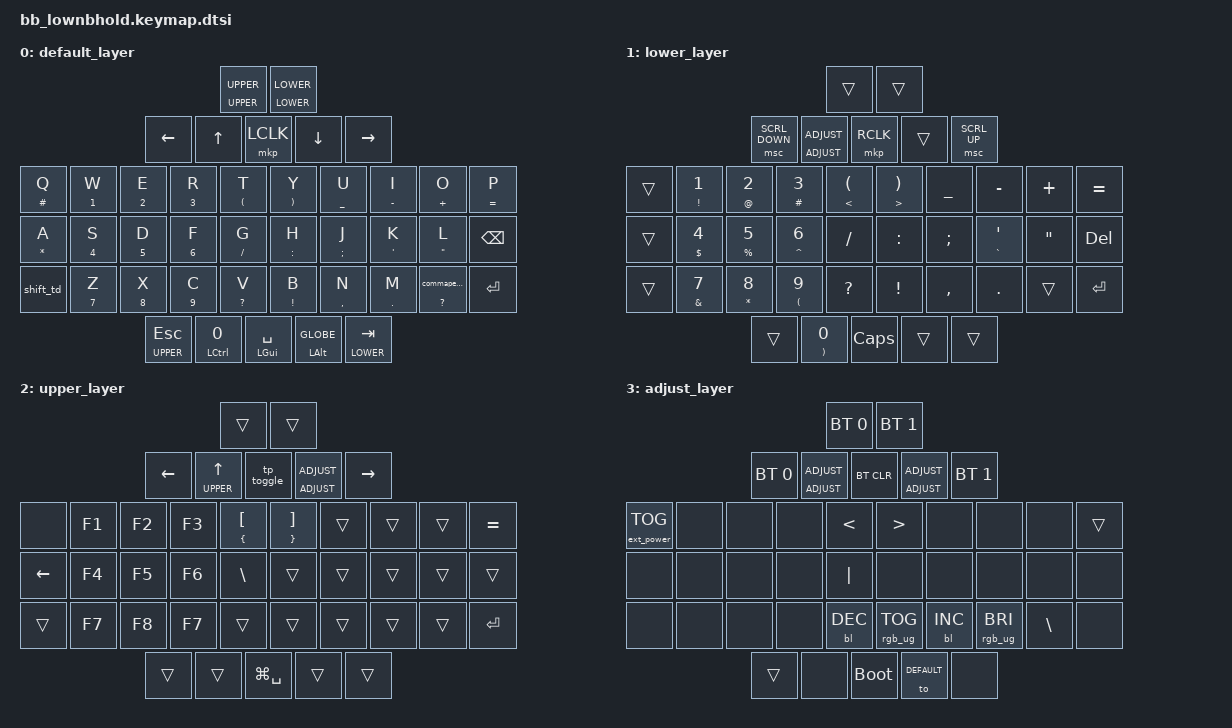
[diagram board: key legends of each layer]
/{
macros {
        R_1W: R_1W {
            label = "R_1W";
            compatible = "zmk,behavior-macro";
            #binding-cells = <0>;
            wait-ms = <0>;
            tap-ms = <0>;
            bindings
                = <&macro_press &kp LSHFT>
                , <&macro_tap &kp S>
                , <&macro_release &kp LSHFT>
                , <&macro_tap &kp H &kp A &kp W &kp U &kp A &kp J &kp Y &kp D &kp S &kp N>
                ;
        };
        R_2W: R_2W {
            label = "R_2W";
            compatible = "zmk,behavior-macro";
            #binding-cells = <0>;
            wait-ms = <5>;
            tap-ms = <10>;
            bindings
                = <&macro_tap &kp PIPE>
                , <&macro_press &kp LSHFT>
                , <&macro_tap &kp X>
                , <&macro_release &kp LSHFT>
                , <&macro_tap &kp T &kp E>
                , <&macro_press &kp LSHFT>
                , <&macro_tap &kp Z &kp B>
                , <&macro_release &kp LSHFT>
                , <&macro_tap &kp N8>
                , <&macro_press &kp LSHFT>
                , <&macro_tap &kp Y>
                , <&macro_release &kp LSHFT>
                , <&macro_tap &kp R &kp D &kp C &kp SPACE>
                , <&macro_press &kp LSHFT>
                , <&macro_tap &kp S &kp B &kp R>
                , <&macro_release &kp LSHFT>
                , <&macro_tap &kp Z &kp U &kp 1>
                ;
        };
        textit: textit {
            label = "textit";
            compatible = "zmk,behavior-macro";
            #binding-cells = <0>;
            wait-ms = <20>;
            tap-ms = <10>;
            bindings
                = <&macro_tap 
                &kp LBRC &kp LEFT &kp LEFT
                &kp BSLH &kp F &kp K &kp X &kp F &kp L &kp F>
                ,<&macro_press &kp LALT>
                ,<&macro_tap &kp RIGHT &kp RIGHT>
                ,<&macro_release &kp LALT>
                ;
        };
        textbf: textbf {
            label = "textbf";
            compatible = "zmk,behavior-macro";
            #binding-cells = <0>;
            wait-ms = <20>;
            tap-ms = <10>;
            bindings
                = <&macro_tap 
                &kp LBRC &kp LEFT &kp LEFT
                &kp BSLH &kp F &kp K &kp X &kp F &kp B &kp E>
                ,<&macro_press 
                &kp LALT>
                ,<&macro_tap 
                &kp RIGHT &kp RIGHT>
                ,<&macro_release 
                &kp LALT>
                ;
        };
        LR_PAR: LR_PAR {
            label = "LR_PAR";
            compatible = "zmk,behavior-macro";
            #binding-cells = <0>;
            wait-ms = <40>;
            tap-ms = <40>;
            bindings
                = <&macro_press &kp LSHFT>
                , <&macro_tap &kp N9 &kp N0>
                , <&macro_release &kp LSHFT>
                , <&macro_tap &kp LEFT>
                ;
        };   
        parencite: parencite {
            label = "parencite";
            compatible = "zmk,behavior-macro";
            #binding-cells = <0>;
            wait-ms = <10>;
            tap-ms = <20>;
            bindings
                = <&macro_tap &kp BSLH &kp R &kp A &kp S &kp K &kp J &kp C &kp L &kp F &kp K>
                , <&macro_tap &kp LBKT &kp RBKT  &kp LBRC &kp RBRC &kp LEFT &kp LEFT &kp LBKT &kp RBKT &kp RIGHT &kp RIGHT>
                ;
        };
        single_tap: single_tap {
            compatible = "zmk,behavior-macro-one-param";
            #binding-cells = <1>;
            bindings = <&macro_param_1to1>, <&kp MACRO_PLACEHOLDER>;
        };
    };
    behaviors {
        commaperiod: commaperiod {
            compatible = "zmk,behavior-tap-dance";
            #binding-cells = <0>;
            tapping-term-ms = <400>;
            bindings = <&kp COMMA>, <&kp DOT>;
        };
        commaq: commaq {
            compatible = "zmk,behavior-hold-tap";
            #binding-cells = <2>;
            flavor = "tap-preferred";
            tapping-term-ms = <400>;
            bindings = <&kp>, <&commaperiod>;
        };
        td_boot_out: td_boot_out {
            compatible = "zmk,behavior-tap-dance";
            #binding-cells = <0>;
            tapping-term-ms = <400>;
            bindings = <&bootloader>, <&out OUT_TOG>;
        };
        hm: homerow_mods {
            compatible = "zmk,behavior-hold-tap";
            #binding-cells = <2>;
            tapping-term-ms = <400>;
            bindings = <&kp &kp>;
        };
        sl_mo: behavior_sl_mo {
            compatible = "zmk,behavior-hold-tap";
            #binding-cells = <2>;
            flavor = "hold-preferred";      /*  */
            tapping-term-ms = <450>;       /*  */
            bindings = <&mo &sl>;          /* hold=MO, tap=SL */
        };
        qlt: quick_layer_tap {
            compatible = "zmk,behavior-hold-tap";
            #binding-cells = <2>;
            tapping-term-ms = <200>;
            quick-tap-ms = <200>;
            flavor = "hold-preferred";
            bindings = <&mo>, <&kp>;
        };
        qlmt: quick_layer_mouse_tap {
            compatible = "zmk,behavior-hold-tap";
            #binding-cells = <2>;
            tapping-term-ms = <200>;
            quick-tap-ms = <200>;
            flavor = "hold-preferred";
            bindings = <&mo>, <&mkp>;
        };    
        qmt: quick_mod_tap {
            compatible = "zmk,behavior-hold-tap";
            #binding-cells = <2>;
            tapping-term-ms = <200>;
            quick-tap-ms = <200>;
            flavor = "hold-preferred";
            bindings = <&kp>, <&kp>;
        }; 
        bhm: balanced_homerow_mods {
            compatible = "zmk,behavior-hold-tap";
            label = "HOMEROW_MODS";
            #binding-cells = <2>;
            tapping-term-ms = <250>;    // <---[[moderate duration]]
            quick-tap-ms = <0>;
            flavor = "balanced";
            bindings = <&kp>, <&kp>;
        };
        tns: tap_number_symbols {
            compatible = "zmk,behavior-hold-tap";
            label = "NUM_SYMBOLS";
            #binding-cells = <2>;
            tapping-term-ms = <250>;    // <---[[moderate duration]]
            quick-tap-ms = <0>;
            flavor = "tap-preferred";
            bindings = <&single_tap>, <&kp>;
        };
        tms: tap_mouse_symbols {
            compatible = "zmk,behavior-hold-tap";
            label = "MOUSE_SYMBOLS";
            #binding-cells = <2>;
            tapping-term-ms = <250>;    // <---[[moderate duration]]
            quick-tap-ms = <0>;
            flavor = "tap-preferred";
            bindings = <&mkp>, <&kp>;
        };
        
        /* Universal hold-tap: tap = letter, hold = a single press+release of the symbol
         * (via single_tap, so the held symbol fires once with no auto-repeat).
         * Keymap usage: &ht <HOLD_SYMBOL> <TAP_LETTER>   e.g.  &ht LPAR Q */
        ht: ht {
            compatible = "zmk,behavior-hold-tap";
            #binding-cells = <2>;
            flavor = "tap-preferred";
            tapping-term-ms = <250>;
            quick-tap-ms = <0>;
            bindings = <&single_tap>, <&kp>;  /* hold=single_tap(symbol), tap=kp(letter) */
        };

    sk_kp: behavior_sk_kp {
        compatible = "zmk,behavior-hold-tap";
        #binding-cells = <2>;
        flavor = "hold-preferred";
        tapping-term-ms = <200>;
        bindings = <&kp &sk>;          /* hold=kp, tap=sticky key */
        };
    shift_td: shift_td {
        compatible = "zmk,behavior-tap-dance";
        #binding-cells = <0>;
        tapping-term-ms = <200>;
        bindings = <&sk_kp LSHFT LSHFT>, <&caps_word>;
        };
    tp_toggle: tp_toggle {
        compatible = "zmk,behavior-tp-toggle";
        #binding-cells = <0>;
        };
    };

    conditional_layers {
        compatible = "zmk,conditional-layers";
        /* Tri-layer: holding LOWER + UPPER together activates ADJUST
           (QMK's update_tri_layer / "tri_layer" equivalent). */
        tri_layer {
            if-layers = <LOWER UPPER>;
            then-layer = <ADJUST>;
        };
    };

    keymap {
        compatible = "zmk,keymap";

        default_layer {

            bindings = <
/*        --------------------------------------------------------------------------------------------------------------------------
//         |    Shoulder Key1    |                                                                             |    Shoulder Key2    |
// |         Call key      |      Blackberry Key        |    Trackpad    |             Back Key                |             Endcall Key          |
// |     Q      |     W    |     E    |     R    |      T      |       Y        |       U        |        I        |       O      |      P        |
// |     A      |     S    |     D    |     F    |      G      |       H        |       J        |        K        |       L      |      ←        |
// |     alt    |     Z    |     X    |     C    |      V      |       B        |       N        |        M        |       $      |    Enter      |
//        |         aA     |         0           |           SPACE              |         SYM         |        aA          |
//        -----------------------------------------------------------------------------------------------------------------
*/
                 &sl_mo UPPER UPPER                                                                                           &sl_mo LOWER LOWER
    &kp LEFT                    &kp UP                        &mkp LCLK                   &kp DOWN              &kp RIGHT
    &ht POUND Q   &ht N1 W   &ht N2 E   &ht N3 R   &ht LPAR T   &ht RPAR Y   &ht UNDER U   &ht MINUS I   &ht PLUS O   &ht EQUAL P
    &ht ASTRK A   &ht N4 S   &ht N5 D   &ht N6 F   &ht FSLH G   &ht COLON H   &ht SEMI J   &ht SQT K   &ht DQT L   &kp BSPC
    &shift_td   &ht N7 Z   &ht N8 X   &ht N9 C   &ht QMARK V   &ht EXCL B   &ht COMMA N   &ht DOT M   &commaq QMARK 0  &kp RET
    &qlt UPPER ESC &bhm LCTL N0                                &bhm LGUI SPACE                          &bhm LALT GLOBE &qlt LOWER TAB
            >;
        };
//         game_layer {
//             bindings = <
// /*        --------------------------------------------------------------------------------------------------------------------------
// //         |    Shoulder Key1    |                                                                             |    Shoulder Key2    |
// // |         Call key      |      Blackberry Key        |    Trackpad    |             Back Key                |             Endcall Key          |
// // |     Q      |     W    |     E    |     R    |      T      |       Y        |       U        |        I        |       O      |      P        |
// // |     A      |     S    |     D    |     F    |      G      |       H        |       J        |        K        |       L      |      ←        |
// // |     alt    |     Z    |     X    |     C    |      V      |       B        |       N        |        M        |       $      |    Enter      |
// //        |         aA     |         0           |           SPACE              |         SYM         |        aA          |
// //        -----------------------------------------------------------------------------------------------------------------
// */
//                  &trans                                                                                           &trans
//     &kp LEFT                    &kp UP                        &tog DEFAULT                   &kp DOWN              &kp RIGHT
//     &kp Q        &kp W &kp E &kp R &kp T  &kp Y      &kp U     &kp I     &kp O     &kp P
//     &kp A        &kp S &kp D &kp F &kp G  &kp H      &kp J     &kp K     &kp L     &kp BSPC
//     &shift_td            &kp Z &bhm LCTL X &bhm LALT C &kp V  &kp B      &kp N     &kp M     &commaq QMARK 0  &kp RET
//     &tog DEFAULT            &sk_kp LALT LALT               &kp SPACE                          &bhm  LCTRL TAB                  &qlt LOWER GLOBE
//             >;
//         };
        lower_layer {
            bindings = <
                 &trans                                                                                       &trans
    &msc SCRL_DOWN                    &sl_mo ADJUST ADJUST                        &mkp RCLK                   &trans              &msc SCRL_UP
    &trans    &tns EXCL N1        &tns AT N2          &tns POUND N3    &tns LT LPAR   &tns GT RPAR      &kp UNDER       &kp MINUS    &kp PLUS         &kp EQUAL
    &trans    &tns DLLR N4        &tns PRCNT N5       &tns CARET N6    &kp FSLH   &kp COLON     &kp SEMI        &tns GRAVE SQT &kp DQT        &kp DEL
    &trans    &tns AMPS N7        &tns ASTRK N8       &tns LPAR N9          &kp QMARK     &kp EXCL        &kp COMMA &kp DOT    &trans &kp ENTER
    &trans    &tns RPAR N0                         &kp CAPS                       &trans                       &trans
            >;
        };
        upper_layer {

            bindings = <
                 &trans                                                                                          &trans
    &kp LEFT                    &qlt UPPER UP                        &tp_toggle                  &sl_mo ADJUST ADJUST              &kp RIGHT
    &none        &kp F1   &kp F2 &kp F3      &tns LBRC LBKT &tns RBRC RBKT            &trans           &trans          &trans         &kp EQUAL
    &kp LEFT     &kp F4   &kp F5 &kp F6           &kp BSLH          &trans         &trans         &trans        &trans        &trans
    &trans      &kp F7   &kp F8 &kp F7  &trans        &trans  &trans       &trans &trans     &kp ENTER
    &trans              &trans                                      &kp  LG(SPACE)                        &trans                      &trans
        >;
        };

        adjust_layer {

            bindings = <
                 &bt BT_SEL 0                                                                                         &bt BT_SEL 1

    &bt BT_SEL 0        &sl_mo ADJUST ADJUST                                      &bt BT_CLR                         &sl_mo ADJUST ADJUST        &bt BT_SEL 1
    &ext_power EP_TOG        &none     &none       &none      &kp LT        &kp GT         &none           &none           &none            &trans
    &none        &none     &none       &none      &kp PIPE        &none         &none           &none           &none            &none
    &none        &none     &none       &none      &bl BL_DEC        &rgb_ug RGB_TOG  &bl BL_INC       &rgb_ug RGB_BRI &kp BSLH      &none
    &trans                  &none                               &bootloader                         &to DEFAULT                      &none
        >;
        };
    };
};
